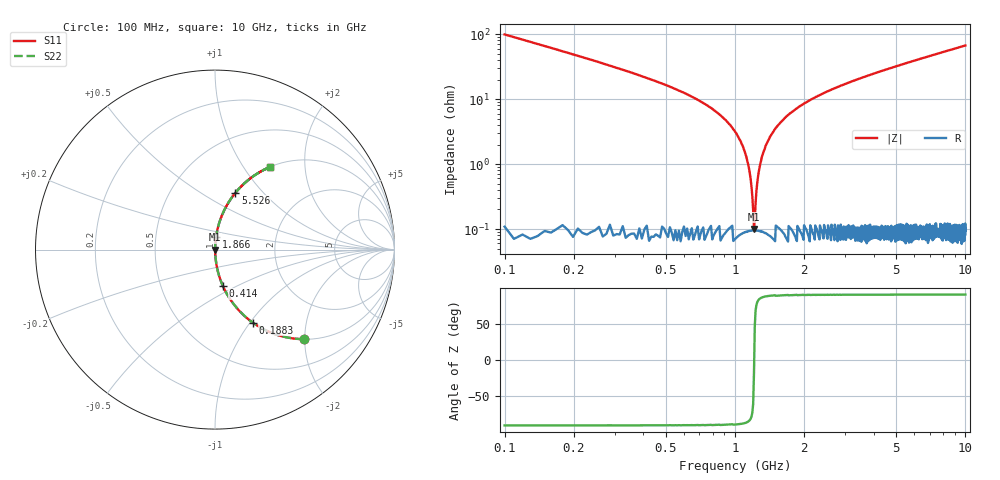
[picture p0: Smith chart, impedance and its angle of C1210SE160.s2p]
! AVX Thin Film Operation		Date: April 2012
! Description: Accu-P® Series, Thin Film, SMD, RF Capacitor
! Part Number: 12101J160FBTTR
!	100	MHz	-	10.05	GHz
!	Serial	Measurements
#	MHZ	S	MA	R	50
!	S11	S21	S12	S22
!	dB	Phase	dB	Phase	dB	Phase	dB	Phase
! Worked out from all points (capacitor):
!   1010 points, 100 MHz to 10 GHz, reference 50 ohm
!   read as one part in series: C = 16 pF near 149.1 MHz
!   lowest |Z| = 101 mohm at 1.209 GHz (marker M1)
!   series resonance near 1.211 GHz, so ESL is about 1.1 nH
!   S11 on the Smith chart (normalised r, x): 100 MHz: 1.00, -1.97; 188.3 MHz: 1.00, -1.03; 414 MHz: 1.00, -0.42; 1.866 GHz: 1.00, +0.15; 5.526 GHz: 1.00, +0.71; 10 GHz: 1.00, +1.34
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100  0.702 -45.3  0.711 44.6  0.711 44.6  0.702 -45.3
188.305  0.458 -62.7  0.888 27.2  0.888 27.2  0.458 -62.7
413.974  0.207 -77.8  0.977 12.0  0.977 12.0  0.207 -77.8
796.63  0.071 -85.2  0.997 4.0  0.997 4.0  0.071 -85.2
992.864  0.033 -86.5  0.999 1.9  0.999 1.9  0.033 -86.5
1100.793  0.016 -85.8  0.999 0.9  0.999 0.9  0.016 -85.8
1140.04  0.00998 -84.3  0.999 0.6  0.999 0.6  0.00998 -84.3
1179.286  0.00447 -78.1  0.999 0.3  0.999 0.3  0.00447 -78.1
1208.722  0.000958 -20.2  0.999 0.0  0.999 0.0  0.000958 -20.2
1247.968  0.005 79.3  0.999 -0.3  0.999 -0.3  0.005 79.3
1316.65  0.014 85.5  0.999 -0.8  0.999 -0.8  0.014 85.5
1395.144  0.023 86.5  0.999 -1.3  0.999 -1.3  0.023 86.5
1532.507  0.039 86.4  0.998 -2.2  0.998 -2.2  0.039 86.4
1758.176  0.062 85.6  0.997 -3.6  0.997 -3.6  0.062 85.6
1866.105  0.073 85.1  0.996 -4.2  0.996 -4.2  0.073 85.1
2464.618  0.126 82.4  0.991 -7.2  0.991 -7.2  0.126 82.4
3406.541  0.198 78.3  0.979 -11.4  0.979 -11.4  0.198 78.3
5054.906  0.307 72.0  0.951 -17.9  0.951 -17.9  0.307 72.0
5525.867  0.336 70.2  0.941 -19.6  0.941 -19.6  0.336 70.2
6703.271  0.402 66.2  0.915 -23.7  0.915 -23.7  0.402 66.2
8351.635  0.485 60.9  0.874 -29.0  0.874 -29.0  0.485 60.9
10000  0.555 56.2  0.831 -33.7  0.831 -33.7  0.555 56.2
